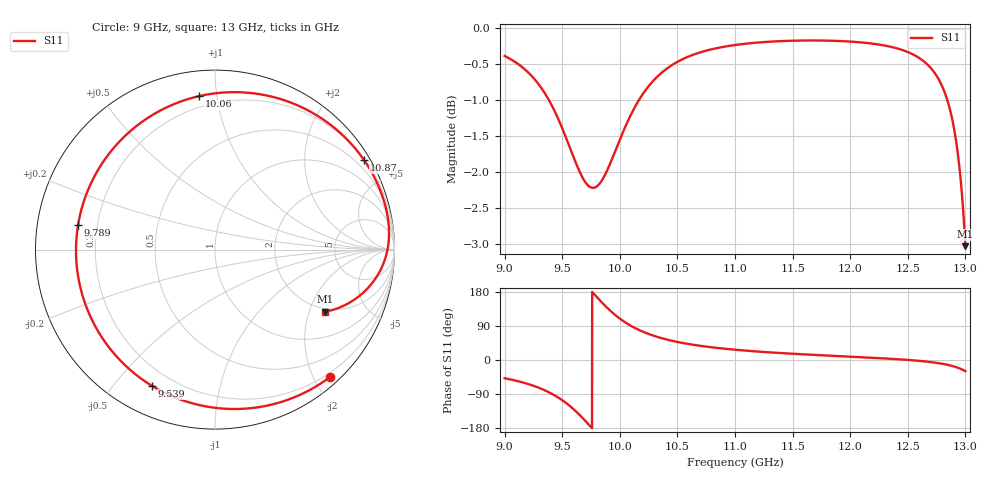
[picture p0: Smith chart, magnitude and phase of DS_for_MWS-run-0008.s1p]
! TOUCHSTONE file generated by CST DESIGN STUDIO
! Date and time: Tue Feb  4 17:26:14 2025
! Project name: C:\Work\MatlabApps\UnitCellOptimizationMatlab\CST\unitcell.cst
! Tree item: Tasks\Sweep1\SPara1\S-Parameters
! Header version: 2024
! Port assignment regex: !\s*Touchstone port\s*([0-9]+)\s*=\s*(CST MWS port|CST DES external port|CST DES block port)\s*(.+)\s* \(\"(.*)\"\)(\s*mode\s*([0-9]+))?.*
! Touchstone port assignment:
! Touchstone port 1 = CST DES external port 1 ("")
# GHz S MA R 50
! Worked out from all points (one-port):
!   4001 points, 9 GHz to 13 GHz, reference 50 ohm
!   lowest |S11| = -3.0 dB at 13 GHz (marker M1), VSWR 5.79, Z = 93.5 - j129 ohm
!   |S11| at or under -10 dB: nowhere
!   S11 on the Smith chart (normalised r, x): 9 GHz: 0.14, -2.23; 9.539 GHz: 0.13, -0.63; 9.789 GHz: 0.13, +0.09; 10.06 GHz: 0.14, +0.89; 10.87 GHz: 0.22, +3.60; 13 GHz: 1.87, -2.58
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9  0.9558 -48.1
9.138  0.941 -57.6
9.267  0.9196 -69.8
9.399  0.8865 -87.4
9.5  0.8518 -106.0
9.539  0.8366 -114.7
9.609  0.8093 -132.7
9.681  0.786 -154.3
9.736  0.776 -172.3
9.789  0.7751 170.0
9.841  0.7828 152.9
9.899  0.7991 135.3
10  0.8362 109.3
10.065  0.8598 95.8
10.165  0.8906 79.4
10.265  0.9139 67.0
10.375  0.9323 56.6
10.5  0.9469 47.6
10.668  0.9597 38.7
10.872  0.9689 30.9
11  0.9727 27.1
11.5  0.9794 16.5
12  0.9781 8.8
12.5  0.9619 0.2
12.699  0.9377 -5.5
12.83  0.8974 -11.8
12.92  0.8337 -18.9
13  0.7055 -29.4
